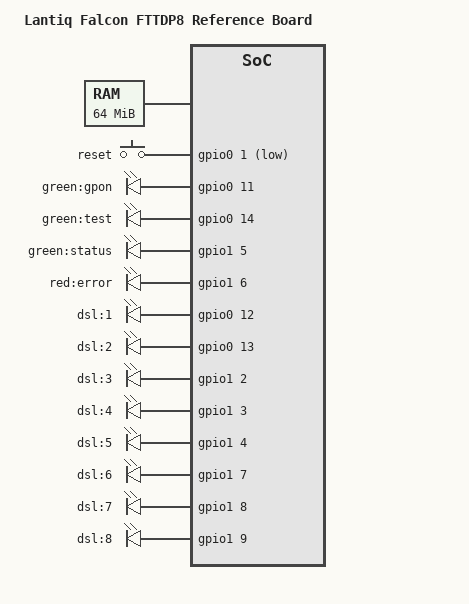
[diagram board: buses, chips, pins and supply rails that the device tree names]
#include "falcon.dtsi"
#include "falcon_sflash-16m.dtsi"

#include <dt-bindings/gpio/gpio.h>

/ {
	model = "Lantiq Falcon FTTDP8 Reference Board";
	compatible = "lantiq,easy88388", "lantiq,falcon";

	aliases {
		spi0 = &ebu_cs0;
	};

	memory@0 {
		device_type = "memory";
		reg = <0x0 0x4000000>;  // 64M at 0x0
	};

	keys {
		compatible = "gpio-keys";
		reset {
			label = "reset";
			gpios = <&gpio0 1 GPIO_ACTIVE_LOW>;
			linux,code = <0x198>;
		};
	};

	pinctrl {
		led_pins: led-pins {
			lantiq,pins = "io34", "io35", "io36", "io37", "io38",
					"io39", "io40", "io41";
			lantiq,function = "gpio";
		};
	};

	leds {
		compatible = "gpio-leds";
		pinctrl-names = "default";
		pinctrl-0 = <&led_pins &bootled_pins>;

		GPON {
			label = "green:gpon";
			gpios = <&gpio0 11 GPIO_ACTIVE_HIGH>;
		};
		TEST {
			label = "green:test";
			gpios = <&gpio0 14 GPIO_ACTIVE_HIGH>;
		};
		STATUS {
			label = "green:status";
			gpios = <&gpio1 5 GPIO_ACTIVE_HIGH>;
		};
		ERROR {
			label = "red:error";
			gpios = <&gpio1 6 GPIO_ACTIVE_HIGH>;
		};

		DSL1 {
			label = "dsl:1";
			gpios = <&gpio0 12 GPIO_ACTIVE_HIGH>;
		};
		DSL2 {
			label = "dsl:2";
			gpios = <&gpio0 13 GPIO_ACTIVE_HIGH>;
		};
		DSL3 {
			label = "dsl:3";
			gpios = <&gpio1 2 GPIO_ACTIVE_HIGH>;
		};
		DSL4 {
			label = "dsl:4";
			gpios = <&gpio1 3 GPIO_ACTIVE_HIGH>;
		};
		DSL5 {
			label = "dsl:5";
			gpios = <&gpio1 4 GPIO_ACTIVE_HIGH>;
		};
		DSL6 {
			label = "dsl:6";
			gpios = <&gpio1 7 GPIO_ACTIVE_HIGH>;
		};
		DSL7 {
			label = "dsl:7";
			gpios = <&gpio1 8 GPIO_ACTIVE_HIGH>;
		};
		DSL8 {
			label = "dsl:8";
			gpios = <&gpio1 9 GPIO_ACTIVE_HIGH>;
		};
	};
};

